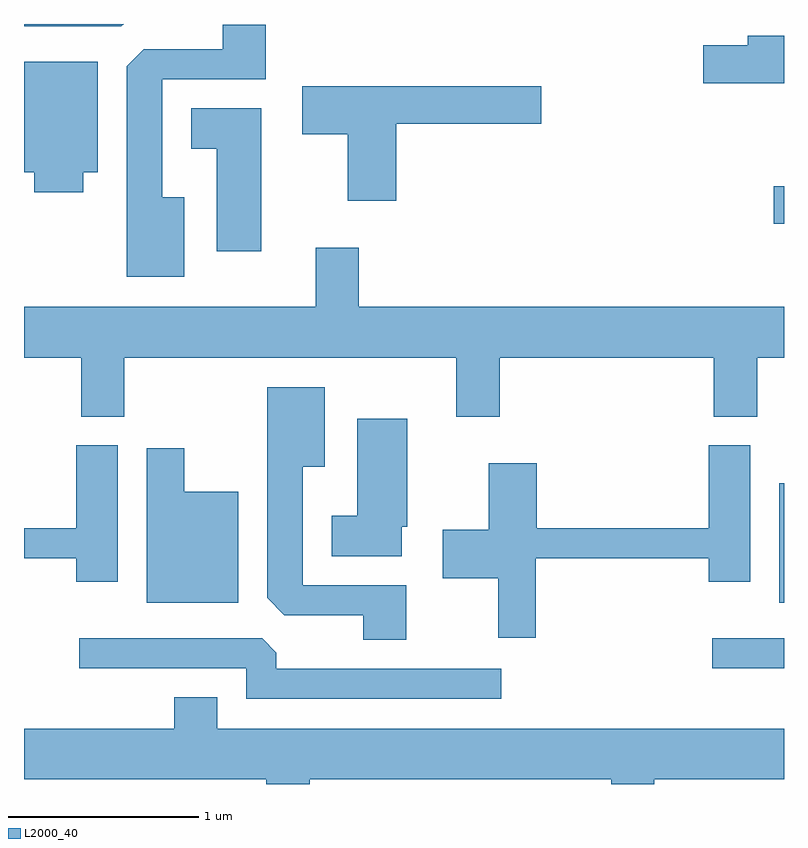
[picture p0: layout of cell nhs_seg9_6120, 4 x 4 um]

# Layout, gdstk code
import gdstk
lib = gdstk.Library(unit=1e-6, precision=1e-09)
def R(c, l, rs):  # rectangles x0, y0, x1, y1
    for r in rs: c.add(gdstk.rectangle(r[:2], r[2:], *l))
def P(c, l, *ps):  # polygons
    for p in ps: c.add(gdstk.Polygon(p, *l))
L2000_40 = (2000, 40)

nhs_seg9_6120 = lib.new_cell('nhs_seg9_6120')
R(nhs_seg9_6120, L2000_40, [(369.233,2019.041,369.611,2019.199), (369.586,2019.386,369.611,2020.014), (369.556,2021.381,369.611,2021.579)])
P(nhs_seg9_6120, L2000_40, [(366.135,2022.432),(365.611,2022.432),(365.611,2022.421),(366.124,2022.421)],
  [(366.454,2021.519),(366.339,2021.519),(366.339,2022.141),(366.884,2022.141),(366.884,2022.429),(366.656,2022.429),(366.656,2022.299),(366.242,2022.299),(366.151,2022.209),(366.151,2021.101),(366.454,2021.101)],
  [(369.611,2022.369),(369.421,2022.369),(369.421,2022.319),(369.186,2022.319),(369.186,2022.121),(369.611,2022.121)],
  [(365.924,2021.651),(365.999,2021.651),(365.999,2022.234),(365.611,2022.234),(365.611,2021.651),(365.666,2021.651),(365.666,2021.546),(365.924,2021.546)],
  [(367.569,2021.906),(368.334,2021.906),(368.334,2022.104),(367.076,2022.104),(367.076,2021.851),(367.316,2021.851),(367.316,2021.501),(367.569,2021.501)],
  [(366.859,2021.989),(366.491,2021.989),(366.491,2021.776),(366.626,2021.776),(366.626,2021.236),(366.859,2021.236)],
  [(366.139,2020.676),(367.886,2020.676),(367.886,2020.366),(368.114,2020.366),(368.114,2020.676),(369.241,2020.676),(369.241,2020.366),(369.469,2020.366),(369.469,2020.676),(369.611,2020.676),(369.611,2020.944),(367.374,2020.944),(367.374,2021.254),(367.146,2021.254),(367.146,2020.944),(365.611,2020.944),(365.611,2020.676),(365.911,2020.676),(365.911,2020.366),(366.139,2020.366)],
  [(367.624,2019.479),(367.079,2019.479),(367.079,2020.101),(367.194,2020.101),(367.194,2020.519),(366.891,2020.519),(366.891,2019.412),(366.982,2019.321),(367.396,2019.321),(367.396,2019.191),(367.624,2019.191)],
  [(367.599,2019.786),(367.629,2019.786),(367.629,2020.354),(367.366,2020.354),(367.366,2019.844),(367.231,2019.844),(367.231,2019.631),(367.599,2019.631)],
  [(368.304,2019.621),(369.216,2019.621),(369.216,2019.496),(369.434,2019.496),(369.434,2020.214),(369.216,2020.214),(369.216,2019.779),(368.309,2019.779),(368.309,2020.119),(368.056,2020.119),(368.056,2019.769),(367.816,2019.769),(367.816,2019.516),(368.106,2019.516),(368.106,2019.201),(368.304,2019.201)],
  [(366.104,2020.214),(365.886,2020.214),(365.886,2019.779),(365.611,2019.779),(365.611,2019.621),(365.886,2019.621),(365.886,2019.496),(366.104,2019.496)],
  [(366.739,2019.969),(366.454,2019.969),(366.454,2020.199),(366.256,2020.199),(366.256,2019.386),(366.739,2019.386)],
  [(368.123,2019.039),(366.939,2019.039),(366.939,2019.124),(366.864,2019.199),(365.903,2019.199),(365.903,2019.041),(366.781,2019.041),(366.781,2018.881),(368.123,2018.881)],
  [(367.114,2018.456),(368.701,2018.456),(368.701,2018.432),(368.929,2018.432),(368.929,2018.456),(369.611,2018.456),(369.611,2018.724),(366.629,2018.724),(366.629,2018.889),(366.401,2018.889),(366.401,2018.724),(365.611,2018.724),(365.611,2018.456),(366.886,2018.456),(366.886,2018.432),(367.114,2018.432)])

lib.write_gds('nhs_seg9_6120.gds')
